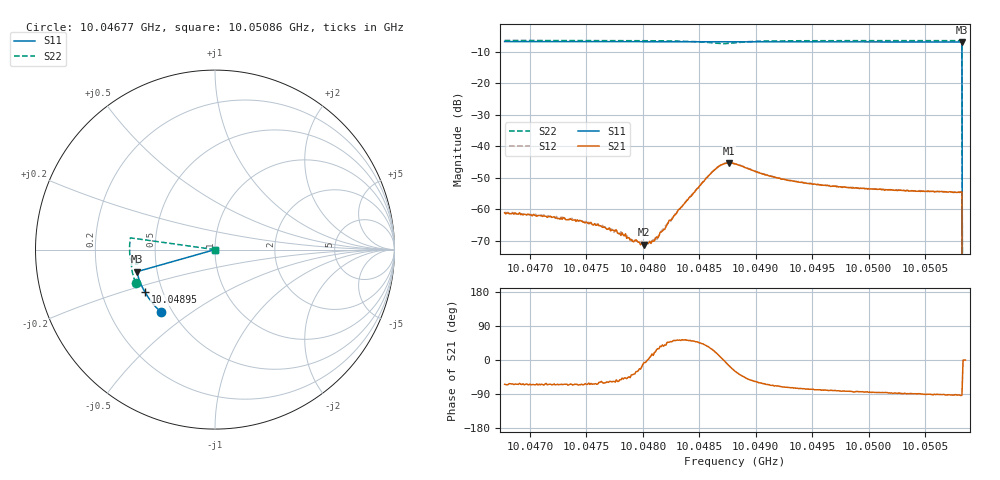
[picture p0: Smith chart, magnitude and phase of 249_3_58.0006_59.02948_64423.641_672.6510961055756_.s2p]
#  HZ  S  RI  R  50.00
! Rohde & Schwarz Vector Network Analyzer
! Rohde-Schwarz,ZNB20-2Port,1311601062101988,3.16
! Created: UTC 3/21/2024, 1:01:24 AM
! freq[Hz]  re:S11  im:S11  re:S21  im:S21  re:S12  im:S12  re:S22  im:S22
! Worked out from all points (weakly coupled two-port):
!   401 points, 10.04677 GHz to 10.05086 GHz, reference 50 ohm
!   highest |S21| = -45.22 dB at 10.04877 GHz (marker M1); lowest = -71.2 dB at 10.04801 GHz (marker M2)
!   lowest |S11| = -6.9 dB at 10.05083 GHz (marker M3), VSWR 2.66, Z = 19.1 - j5.94 ohm
!   |S11| at or under -10 dB: 10.05083 GHz to end of sweep
!   |S22| runs from - to -6.4 dB; largest |S21 - S12| = 0.00038
!   S11 on the Smith chart (normalised r, x): 10.04677 GHz: 0.43, -0.39; 10.04895 GHz: 0.40, -0.24; 10.05086 GHz: 1.00, +0.00
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1.0046774e10  -0.3006 -0.3493  0.000389 -0.000794  0.000454 -0.00079  -0.4421 -0.1856
1.0047142e10  -0.3183 -0.3323  0.000369 -0.000687  0.00038 -0.000697  -0.4505 -0.1621
1.0047458e10  -0.3325 -0.3169  0.000284 -0.000584  0.00035 -0.000556  -0.457 -0.1408
1.0047622e10  -0.3396 -0.3089  0.000287 -0.000472  0.000311 -0.000465  -0.4596 -0.1294
1.0047744e10  -0.3448 -0.3026  0.000253 -0.000382  0.00024 -0.00036  -0.4616 -0.1207
1.0047908e10  -0.3516 -0.2942  0.000243 -0.000197  0.000262 -0.000192  -0.4635 -0.1085
1.004801e10  -0.3557 -0.2888  0.000274 -3.3e-05  0.000289 -5.03e-05  -0.4644 -0.1005
1.004804e10  -0.3569 -0.2872  0.000289 -5.84e-07  0.000288 2.98e-05  -0.4646 -0.0981
1.0048091e10  -0.3589 -0.2846  0.000306 6.54e-05  0.000316 0.000154  -0.4648 -0.0939
1.0048142e10  -0.361 -0.2819  0.000329 0.000189  0.000329 0.000242  -0.4652 -0.0895
1.0048326e10  -0.368 -0.2719  0.000614 0.000809  0.000598 0.000826  -0.4633 -0.0724
1.0048602e10  -0.3779 -0.2566  0.0032 0.00187  0.00311 0.00208  -0.4389 -0.048
1.0048694e10  -0.3809 -0.2517  0.00505 0.00053  0.00504 0.000871  -0.4238 -0.0575
1.0048765e10  -0.3832 -0.2478  0.00528 -0.00148  0.0054 -0.00115  -0.425 -0.0728
1.0048816e10  -0.3849 -0.2451  0.0046 -0.00262  0.00481 -0.00231  -0.4331 -0.0792
1.0048949e10  -0.3898 -0.2376  0.00264 -0.00344  0.00289 -0.0033  -0.4541 -0.0758
1.0049194e10  -0.3976 -0.2236  0.00116 -0.00292  0.00131 -0.00289  -0.4692 -0.0531
1.0049501e10  -0.4067 -0.2055  0.000559 -0.00245  0.000696 -0.00245  -0.4744 -0.0277
1.0050185e10  -0.4239 -0.1638  0.00012 -0.00204  0.000243 -0.00205  -0.4757 0.0217
1.0050808e10  -0.4361 -0.1249  -8.67e-05 -0.00186  -1.02e-05 -0.00189  -0.4716 0.0639
1.0050828e10  -0.4364 -0.1234  -9.43e-05 -0.00189  -4.63e-06 -0.00188  -0.4714 0.0654
1.0050859e10  0 0  0 0  0 0  0 0
